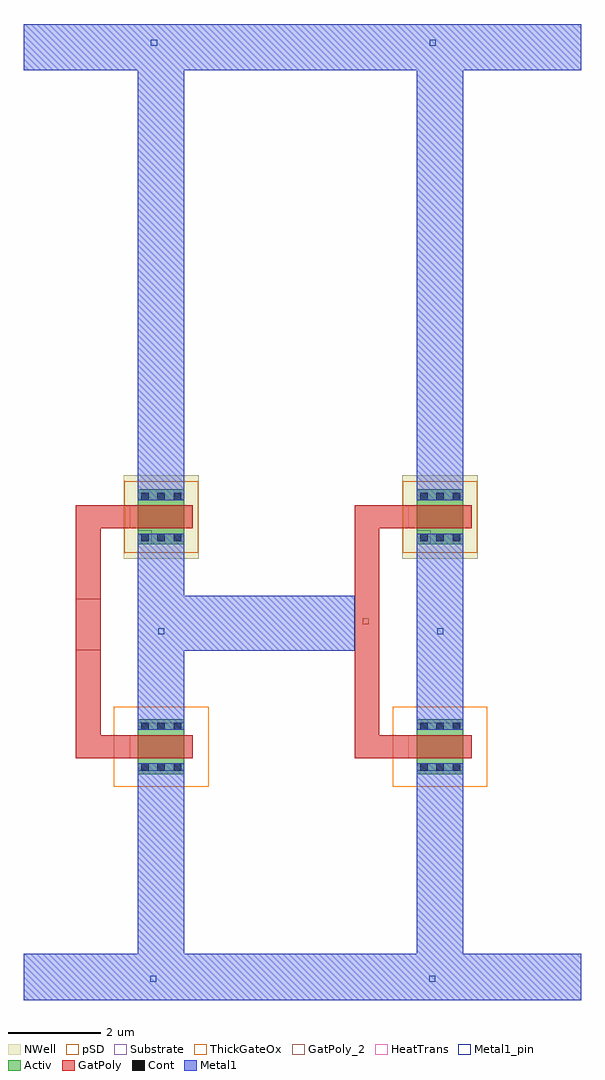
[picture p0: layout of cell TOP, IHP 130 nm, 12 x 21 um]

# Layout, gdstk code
from math import pi, radians
import gdstk
lib = gdstk.Library(unit=1e-6, precision=1e-09)
def R(c, l, rs):  # rectangles x0, y0, x1, y1
    for r in rs: c.add(gdstk.rectangle(r[:2], r[2:], *l))
def A(c, l, x, y, w, h, nx, ny, dx, dy):  # array of equal rectangles
    R(c, l, [(x+i*dx, y+j*dy, x+i*dx+w, y+j*dy+h) for i in range(nx) for j in range(ny)])
def P(c, l, *ps):  # polygons
    for p in ps: c.add(gdstk.Polygon(p, *l))
Activ = (1, 0)
GatPoly = (5, 0)
GatPoly_2 = (5, 2)
Cont = (6, 0)
Metal1 = (8, 0)
Metal1_pin = (8, 2)
pSD = (14, 0)
NWell = (31, 0)
Substrate = (40, 0)
ThickGateOx = (44, 0)
HeatTrans = (51, 0)

nmoshv = lib.new_cell('nmosHV')
R(nmoshv, Activ, [(0,0,0.3,0.3), (0,0,1.18,1), (0.88,0,1.18,0.3)])
R(nmoshv, GatPoly, [(0.34,-0.18,0.84,1.18)])
R(nmoshv, GatPoly_2, [(0.34,-0.18,0.84,1.18)])
A(nmoshv, Cont, 0.07, 0.07, 0.16, 0.16, 1, 3, 0, 0.35)
A(nmoshv, Cont, 0.95, 0.07, 0.16, 0.16, 1, 3, 0, 0.35)
R(nmoshv, Metal1, [(0.07,0,0.23,1), (0.95,0,1.11,1)])
R(nmoshv, Metal1_pin, [(0.07,0,0.23,1), (0.95,0,1.11,1)])
R(nmoshv, ThickGateOx, [(-0.27,-0.52,1.45,1.52)])
R(nmoshv, HeatTrans, [(0.34,-0.18,0.84,1.18)])
nmoshv.add(gdstk.Label('nmosHV', (0.59,0.5), layer=63, texttype=0))
nmoshv.add(gdstk.Label('nmosHV', (0.59,0.5), layer=51, texttype=0))

pmos = lib.new_cell('pmos')
R(pmos, Activ, [(0,0,0.3,0.3), (0,0,1.18,1), (0.88,0,1.18,0.3)])
R(pmos, GatPoly, [(0.34,-0.18,0.84,1.18), (0.34,-0.18,0.84,1.18)])
A(pmos, Cont, 0.07, 0.07, 0.16, 0.16, 1, 3, 0, 0.35)
A(pmos, Cont, 0.95, 0.07, 0.16, 0.16, 1, 3, 0, 0.35)
R(pmos, Metal1, [(0.07,0,0.23,1), (0.07,0,0.23,1), (0.95,0,1.11,1), (0.95,0,1.11,1)])
R(pmos, pSD, [(-0.18,-0.3,1.36,1.3)])
R(pmos, NWell, [(-0.31,-0.31,1.49,1.31)])
R(pmos, Substrate, [(0.88,0,1.18,0.3)])
R(pmos, HeatTrans, [(0.34,-0.18,0.84,1.18)])
pmos.add(gdstk.Label('pmos', (0.59,0.5), layer=63, texttype=0))
pmos.add(gdstk.Label('pmos', (0.59,0.5), layer=51, texttype=0))

inv = lib.new_cell('inv')
P(inv, GatPoly, [(1.125,4.7),(1.125,10.145),(2.28,10.145),(2.28,9.645),(1.655,9.645),(1.655,5.2),(2.28,5.2),(2.28,4.7)])
R(inv, GatPoly_2, [(1.125,7.02,1.655,8.135)])
R(inv, Metal1, [(2.46,5.385,3.46,9.535)])
P(inv, Metal1, [(2.46,10.255),(2.46,19.5),(0,19.5),(0,20.5),(6,20.5),(6,19.5),(3.46,19.5),(3.46,10.255)],
  [(0,-0.5),(0,0.5),(2.46,0.5),(2.46,4.59),(3.46,4.59),(3.46,0.5),(6,0.5),(6,-0.5)])
R(inv, Metal1_pin, [(2.725,-0.105,2.855,0.025), (2.9,7.365,3.03,7.495), (2.74,20.03,2.87,20.16)])
inv.add(gdstk.Reference(nmoshv, (2.46,5.54), rotation=3*pi/2))
inv.add(gdstk.Reference(pmos, (2.46,10.485), rotation=3*pi/2))
inv.add(gdstk.Label('Vout', (2.965,7.43), layer=8, texttype=25))
inv.add(gdstk.Label('VDD', (2.805,20.095), layer=8, texttype=25))
inv.add(gdstk.Label('VSS', (2.79,-0.04), layer=8, texttype=25))
inv.add(gdstk.Label('Vin', (1.36,7.645), layer=5, texttype=1))

inv1 = lib.new_cell('inv1')
P(inv1, GatPoly, [(1.125,4.7),(1.125,10.145),(2.28,10.145),(2.28,9.645),(1.655,9.645),(1.655,5.2),(2.28,5.2),(2.28,4.7)])
R(inv1, GatPoly_2, [(1.295,7.58,1.425,7.71)])
R(inv1, Metal1, [(2.46,5.385,3.46,9.535)])
P(inv1, Metal1, [(2.46,10.255),(2.46,19.5),(0,19.5),(0,20.5),(6,20.5),(6,19.5),(3.46,19.5),(3.46,10.255)],
  [(0,-0.5),(0,0.5),(2.46,0.5),(2.46,4.59),(3.46,4.59),(3.46,0.5),(6,0.5),(6,-0.5)])
R(inv1, Metal1_pin, [(2.725,-0.105,2.855,0.025), (2.9,7.365,3.03,7.495), (2.74,20.03,2.87,20.16)])
inv1.add(gdstk.Reference(nmoshv, (2.46,5.54), rotation=3*pi/2))
inv1.add(gdstk.Reference(pmos, (2.46,10.485), rotation=3*pi/2))
inv1.add(gdstk.Label('Vout', (2.965,7.43), layer=8, texttype=25))
inv1.add(gdstk.Label('VDD', (2.805,20.095), layer=8, texttype=25))
inv1.add(gdstk.Label('VSS', (2.79,-0.04), layer=8, texttype=25))
inv1.add(gdstk.Label('Vin', (1.36,7.645), layer=5, texttype=1))

top = lib.new_cell('TOP')
R(top, Metal1, [(3.46,7.01,7.125,8.19)])
top.add(gdstk.Reference(inv, (0,-0.005)))
top.add(gdstk.Reference(inv1, (6,-0.005)))

lib.write_gds('TOP.gds')
